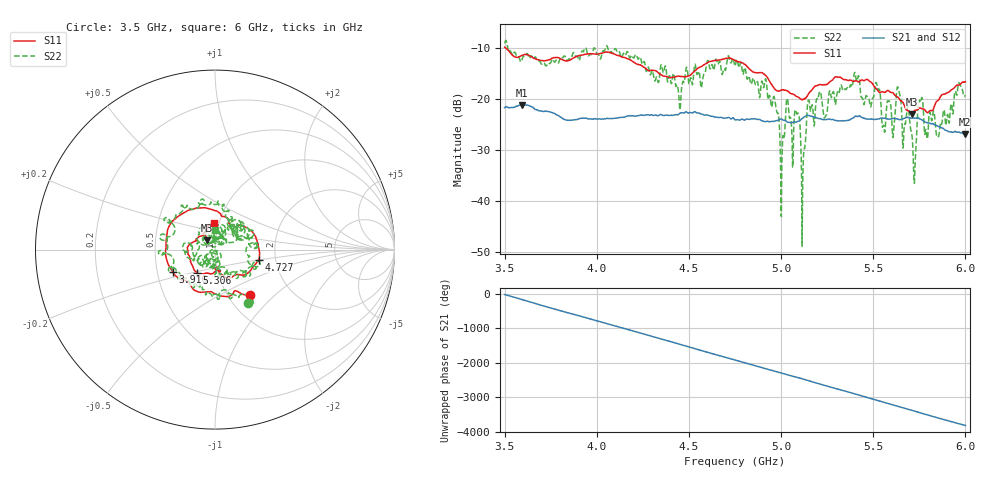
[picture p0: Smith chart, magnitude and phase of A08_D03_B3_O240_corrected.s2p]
! Created with skrf 1.9.0 (http://scikit-rf.org).
# Hz S RI R 50.0
!freq ReS11 ImS11 ReS21 ImS21 ReS12 ImS12 ReS22 ImS22
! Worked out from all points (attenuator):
!   1601 points, 3.5 GHz to 6 GHz, reference 50 ohm
!   highest |S21| = -21.17 dB at 3.592 GHz (marker M1); lowest = -26.9 dB at 5.997 GHz (marker M2)
!   lowest |S11| = -23.0 dB at 5.708 GHz (marker M3), VSWR 1.15, Z = 45.2 + j4.78 ohm
!   |S11| at or under -10 dB: 3.505 GHz to end of sweep
!   |S22| runs from -48.8 to -8.6 dB; largest |S21 - S12| = 0.00098
!   S11 on the Smith chart (normalised r, x): 3.5 GHz: 1.26, -0.72; 3.916 GHz: 0.60, -0.16; 4.727 GHz: 1.63, -0.19; 5.306 GHz: 0.79, -0.21; 6 GHz: 0.94, +0.28
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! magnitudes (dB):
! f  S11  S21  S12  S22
! 3.5 GHz  -9.9  -21.7  -21.7  -9.1
! 3.592 GHz  -11.5  -21.2  -21.2  -12.6
! 3.916 GHz  -11.5  -23.8  -23.8  -11.0
! 3.917 GHz  -11.5  -23.8  -23.8  -10.8
! 4.334 GHz  -14.9  -23.3  -23.2  -16.8
! 4.727 GHz  -12.0  -23.9  -23.8  -13.0
! 4.75 GHz  -12.5  -24.1  -24.0  -13.6
! 4.966 GHz  -18.1  -24.3  -24.3  -20.1
! 5.006 GHz  -18.2  -24.0  -24.0  -29.9
! 5.033 GHz  -18.4  -24.5  -24.4  -19.9
! 5.086 GHz  -19.6  -24.5  -24.5  -23.0
! 5.12 GHz  -20.1  -23.7  -23.6  -32.2
! 5.167 GHz  -18.3  -23.4  -23.4  -21.2
! 5.306 GHz  -15.7  -24.3  -24.2  -18.7
! 5.584 GHz  -18.5  -24.0  -23.9  -20.5
! 5.638 GHz  -19.8  -24.0  -24.0  -18.2
! 5.708 GHz  -23.0  -23.7  -23.7  -26.7
! 5.725 GHz  -22.2  -23.7  -23.7  -34.9
! 5.756 GHz  -21.8  -24.0  -23.9  -20.7
! 5.85 GHz  -20.3  -25.4  -25.3  -27.2
! 5.997 GHz  -16.7  -26.9  -26.8  -19.4
! 6 GHz  -16.7  -26.9  -26.8  -19.3
